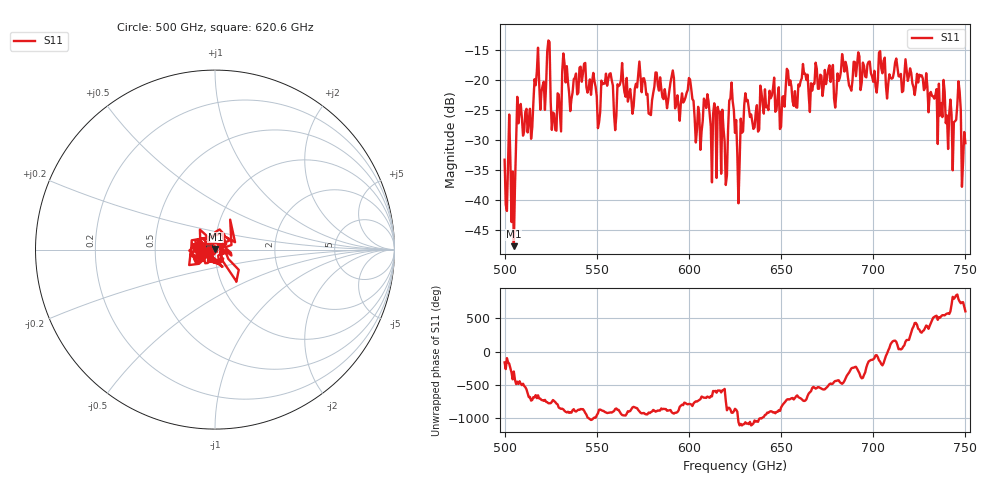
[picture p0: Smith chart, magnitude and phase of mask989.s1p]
!Created with skrf (http://scikit-rf.org).
# GHz S MA R 50.0
!freq magS11 angS11
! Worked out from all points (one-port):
!   401 points, 500 GHz to 750 GHz, reference 50 ohm
!   lowest |S11| = -47.7 dB at 505 GHz (marker M1), VSWR 1.01, Z = 50.2 + j0.36 ohm
!   |S11| at or under -10 dB: start of sweep to end of sweep
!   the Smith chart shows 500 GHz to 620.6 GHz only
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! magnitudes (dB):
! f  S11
! 500 GHz  -33.3
! 505 GHz  -47.7
! 508.1 GHz  -25.2
! 513.8 GHz  -24.8
! 516.9 GHz  -20.8
! 520.6 GHz  -20.9
! 523.8 GHz  -13.3
! 526.9 GHz  -25.6
! 531.2 GHz  -18.5
! 542.5 GHz  -18.9
! 550.6 GHz  -28.0
! 562.5 GHz  -20.8
! 590.6 GHz  -19.4
! 593.8 GHz  -22.5
! 600 GHz  -19.6
! 605 GHz  -24.4
! 609.4 GHz  -24.6
! 620 GHz  -37.5
! 623.1 GHz  -20.4
! 625 GHz  -28.8
! 627.5 GHz  -33.9
! 631.2 GHz  -23.5
! 656.2 GHz  -23.5
! 687.5 GHz  -21.2
! 718.8 GHz  -20.1
! 741.9 GHz  -23.2
! 746.2 GHz  -20.2
! 750 GHz  -30.5
